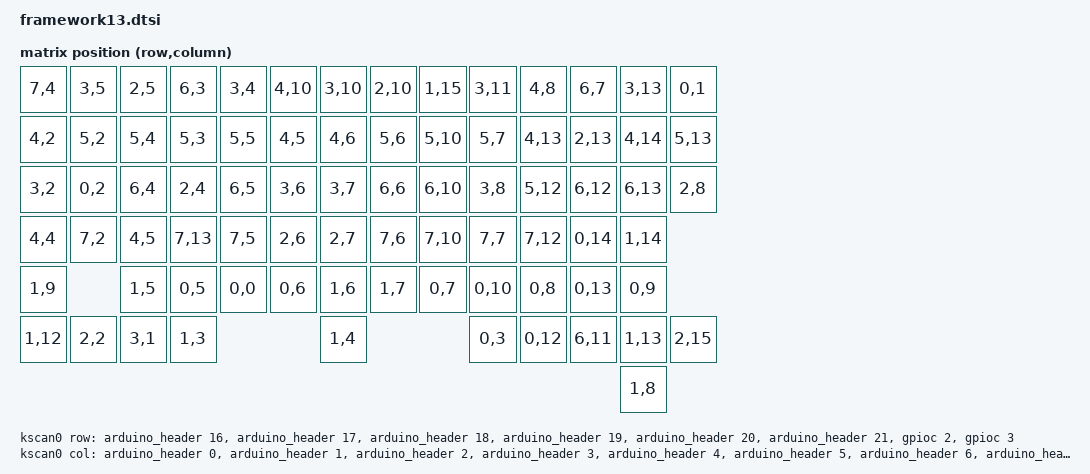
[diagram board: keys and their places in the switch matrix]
/*
 * Copyright (c) 2022 The ZMK Contributors
 *
 * SPDX-License-Identifier: MIT
 */

#include <dt-bindings/led/led.h>
#include <dt-bindings/zmk/matrix_transform.h>
#include "framework13-layouts.dtsi"

/ {
    matrix_transform: matrix_transform {
        compatible = "zmk,matrix-transform";
        rows = <8>;
        columns = <16>;

        // (row, col)
        map = <
        RC(7,4)  RC(3,5)  RC(2,5)  RC(6,3)  RC(3,4)  RC(4,10) RC(3,10) RC(2,10) RC(1,15) RC(3,11) RC(4,8)  RC(6,7)  RC(3,13) RC(0,1)
        RC(4,2)  RC(5,2)  RC(5,4)  RC(5,3)  RC(5,5)  RC(4,5)  RC(4,6)  RC(5,6)  RC(5,10) RC(5,7)  RC(4,13) RC(2,13) RC(4,14) RC(5,13)
        RC(3,2)  RC(0,2)  RC(6,4)  RC(2,4)  RC(6,5)  RC(3,6)  RC(3,7)  RC(6,6)  RC(6,10) RC(3,8)  RC(5,12) RC(6,12) RC(6,13) RC(2,8)
        RC(4,4)  RC(7,2)  RC(4,5)  RC(7,13) RC(7,5)  RC(2,6)  RC(2,7)  RC(7,6)  RC(7,10) RC(7,7)  RC(7,12) RC(0,14) RC(1,14)
        RC(1,9)           RC(1,5)  RC(0,5)  RC(0,0)  RC(0,6)  RC(1,6)  RC(1,7)  RC(0,7)  RC(0,10) RC(0,8)  RC(0,13) RC(0,9)
        RC(1,12) RC(2,2)  RC(3,1)  RC(1,3)                    RC(1,4)                    RC(0,3)  RC(0,12) RC(6,11) RC(1,13) RC(2,15)
                                                                                                                    RC(1,8)
        >;
    };

    kscan0: kscan_matrix {
        compatible = "zmk,kscan-gpio-matrix";
        wakeup-source;

        diode-direction = "col2row";
        debounce-press-ms = <1>;
        debounce-release-ms = <5>;
        poll-period-ms = <1>;

        col-gpios
        = <&arduino_header  0 GPIO_ACTIVE_HIGH> // KSO0
        , <&arduino_header  1 GPIO_ACTIVE_HIGH> // KSO1
        , <&arduino_header  2 GPIO_ACTIVE_HIGH> // KSO2
        , <&arduino_header  3 GPIO_ACTIVE_HIGH> // KSO3
        , <&arduino_header  4 GPIO_ACTIVE_HIGH> // KSO4
        , <&arduino_header  5 GPIO_ACTIVE_HIGH> // KSO5
        , <&arduino_header  6 GPIO_ACTIVE_HIGH> // KSO6
        , <&arduino_header  7 GPIO_ACTIVE_HIGH> // KSO7
        , <&arduino_header  8 GPIO_ACTIVE_HIGH> // KSO8
        , <&arduino_header  9 GPIO_ACTIVE_HIGH> // KSO9
        , <&arduino_header 10 GPIO_ACTIVE_HIGH> // KS10
        , <&arduino_header 11 GPIO_ACTIVE_HIGH> // KS11
        , <&arduino_header 12 GPIO_ACTIVE_HIGH> // KS12
        , <&arduino_header 13 GPIO_ACTIVE_HIGH> // KS13
        , <&arduino_header 14 GPIO_ACTIVE_HIGH> // KS14
        , <&arduino_header 15 GPIO_ACTIVE_HIGH> // KS15
        ;

        row-gpios
        = <&arduino_header 16 (GPIO_ACTIVE_HIGH | GPIO_PULL_DOWN)> // KSI0
        , <&arduino_header 17 (GPIO_ACTIVE_HIGH | GPIO_PULL_DOWN)> // KSI1
        , <&arduino_header 18 (GPIO_ACTIVE_HIGH | GPIO_PULL_DOWN)> // KSI2
        , <&arduino_header 19 (GPIO_ACTIVE_HIGH | GPIO_PULL_DOWN)> // KSI3
        , <&arduino_header 20 (GPIO_ACTIVE_HIGH | GPIO_PULL_DOWN)> // KSI4
        , <&arduino_header 21 (GPIO_ACTIVE_HIGH | GPIO_PULL_DOWN)> // KSI5
        , <&gpioc           2 (GPIO_ACTIVE_HIGH | GPIO_PULL_DOWN)> // KSI6
        , <&gpioc           3 (GPIO_ACTIVE_HIGH | GPIO_PULL_DOWN)> // KSI7
        ;
    };

};

&matrix_physical_layout {
    kscan = <&kscan0>;
    transform = <&matrix_transform>;
};
